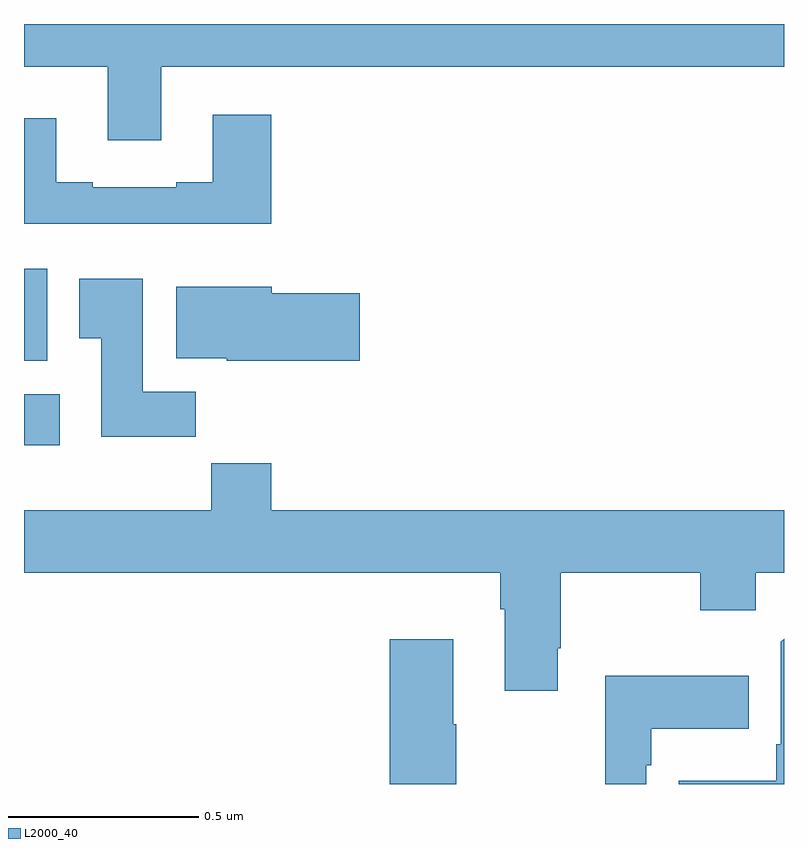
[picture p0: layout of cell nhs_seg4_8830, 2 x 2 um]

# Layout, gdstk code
import gdstk
lib = gdstk.Library(unit=1e-6, precision=1e-09)
def R(c, l, rs):  # rectangles x0, y0, x1, y1
    for r in rs: c.add(gdstk.rectangle(r[:2], r[2:], *l))
def P(c, l, *ps):  # polygons
    for p in ps: c.add(gdstk.Polygon(p, *l))
L2000_40 = (2000, 40)

nhs_seg4_8830 = lib.new_cell('nhs_seg4_8830')
R(nhs_seg4_8830, L2000_40, [(219,827.792,219.094,827.926), (219,828.014,219.061,828.256)])
P(nhs_seg4_8830, L2000_40, [(219.361,828.788),(221,828.788),(221,828.9),(219,828.9),(219,828.788),(219.221,828.788),(219.221,828.594),(219.361,828.594)],
  [(219.65,828.661),(219.497,828.661),(219.497,828.484),(219.401,828.484),(219.401,828.471),(219.181,828.471),(219.181,828.484),(219.085,828.484),(219.085,828.652),(219,828.652),(219,828.374),(219.65,828.374)],
  [(219.452,827.932),(219.313,827.932),(219.313,828.229),(219.146,828.229),(219.146,828.073),(219.203,828.073),(219.203,827.814),(219.452,827.814)],
  [(219.883,828.191),(219.652,828.191),(219.652,828.208),(219.401,828.208),(219.401,828.02),(219.534,828.02),(219.534,828.014),(219.883,828.014)],
  [(220.405,827.257),(220.413,827.257),(220.413,827.456),(220.78,827.456),(220.78,827.357),(220.926,827.357),(220.926,827.456),(221,827.456),(221,827.62),(219.65,827.62),(219.65,827.744),(219.493,827.744),(219.493,827.62),(219,827.62),(219,827.456),(220.253,827.456),(220.253,827.36),(220.265,827.36),(220.265,827.145),(220.405,827.145)],
  [(221,827.282),(220.992,827.274),(220.992,827.005),(220.98,827.005),(220.98,826.909),(220.723,826.909),(220.723,826.9),(221,826.9)],
  [(220.137,827.057),(220.129,827.057),(220.129,827.281),(219.962,827.281),(219.962,826.9),(220.137,826.9)],
  [(220.638,826.949),(220.651,826.949),(220.651,827.045),(220.907,827.045),(220.907,827.185),(220.53,827.185),(220.53,826.9),(220.638,826.9)])

lib.write_gds('nhs_seg4_8830.gds')
